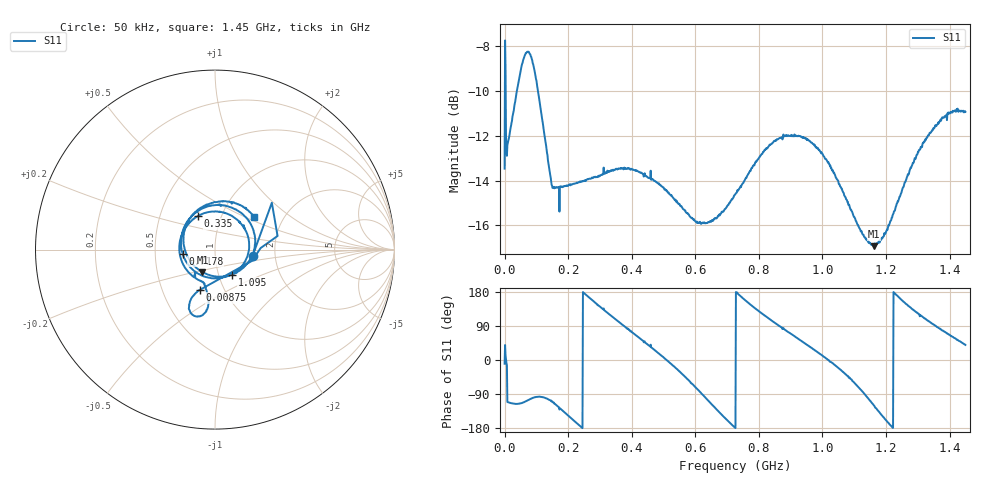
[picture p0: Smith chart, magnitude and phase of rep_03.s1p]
! Created with skrf 1.11.0 (http://scikit-rf.org).
# Hz S RI R 50.0
!freq ReS11 ImS11
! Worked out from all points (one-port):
!   1001 points, 50 kHz to 1.45 GHz, reference 50 ohm
!   lowest |S11| = -16.9 dB at 1.161 GHz (marker M1), VSWR 1.33, Z = 42.2 - j10.7 ohm
!   |S11| at or under -10 dB: start of sweep to 927 kHz; 3.467 MHz to 38.57 MHz (35.1 MHz wide, 167 % of centre); 105 MHz to end of sweep
!   S11 on the Smith chart (normalised r, x): 50 kHz: 1.52, -0.12; 8.75 MHz: 0.77, -0.36; 335 MHz: 0.77, +0.30; 717.8 MHz: 0.69, -0.03; 1.095 GHz: 1.16, -0.33; 1.45 GHz: 1.43, +0.57
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50000  0.209 -0.0364
8749700  -0.0849 -0.2239
1.599945e7  -0.0981 -0.2346
4.93483e7  -0.1443 -0.315
7.54474e7  -0.1018 -0.3737
1.073463e8  -0.0369 -0.3062
1.479449e8  -0.0658 -0.1839
1.812938e8  -0.1306 -0.1419
2.552412e8  -0.1974 0.0251
3.349884e8  -0.0954 0.187
3.625375e8  -0.0318 0.2098
4.118358e8  0.0847 0.1922
4.683838e8  0.1759 0.0959
5.437812e8  0.1616 -0.0747
6.293283e8  -0.0191 -0.1595
7.177752e8  -0.1804 -0.0223
7.25025e8  -0.1855 -0.00528
7.743233e8  -0.1732 0.1184
8.279714e8  -0.0853 0.2201
9.062688e8  0.1022 0.2299
9.976156e8  0.2245 0.0526
1.087512e9  0.1131 -0.1306
1.094762e9  0.095 -0.1396
1.16146e9  -0.0697 -0.1241
1.218008e9  -0.1642 -0.0131
1.268756e9  -0.1669 0.1205
1.361553e9  0.0147 0.2658
1.45e9  0.2183 0.1821
